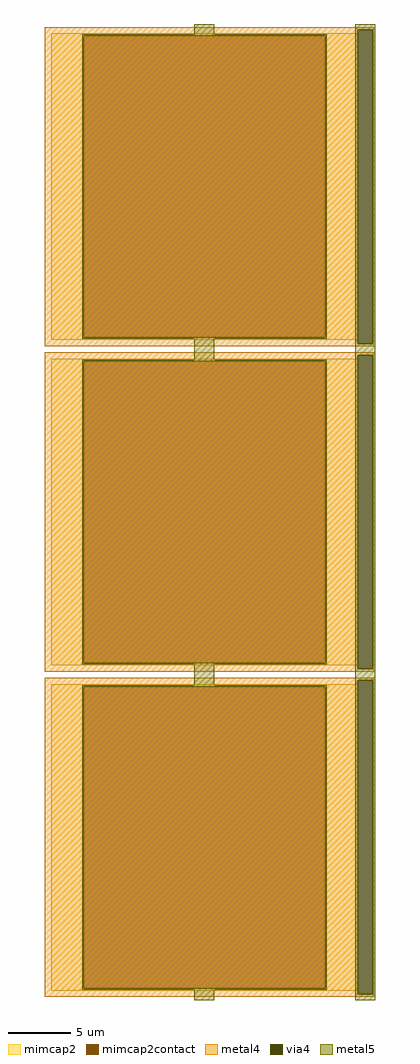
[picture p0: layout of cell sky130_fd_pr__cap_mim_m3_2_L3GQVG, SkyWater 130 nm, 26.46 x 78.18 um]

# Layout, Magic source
magic
tech sky130A
magscale 1 2
<< metal4 >>
rect -2635 7727 2635 7768
rect -2635 2697 2379 7727
rect 2615 2697 2635 7727
rect -2635 2656 2635 2697
rect -2635 2515 2635 2556
rect -2635 -2515 2379 2515
rect 2615 -2515 2635 2515
rect -2635 -2556 2635 -2515
rect -2635 -2697 2635 -2656
rect -2635 -7727 2379 -2697
rect 2615 -7727 2635 -2697
rect -2635 -7768 2635 -7727
<< via4 >>
rect 2379 2697 2615 7727
rect 2379 -2515 2615 2515
rect 2379 -7727 2615 -2697
<< mimcap2 >>
rect -2535 7628 2377 7668
rect -2535 2796 -2012 7628
rect 1854 2796 2377 7628
rect -2535 2756 2377 2796
rect -2535 2416 2377 2456
rect -2535 -2416 -2012 2416
rect 1854 -2416 2377 2416
rect -2535 -2456 2377 -2416
rect -2535 -2796 2377 -2756
rect -2535 -7628 -2012 -2796
rect 1854 -7628 2377 -2796
rect -2535 -7668 2377 -7628
<< mimcap2contact >>
rect -2012 2796 1854 7628
rect -2012 -2416 1854 2416
rect -2012 -7628 1854 -2796
<< metal5 >>
rect -239 7652 81 7818
rect 2337 7727 2657 7818
rect -2036 7628 1878 7652
rect -2036 2796 -2012 7628
rect 1854 2796 1878 7628
rect -2036 2772 1878 2796
rect -239 2440 81 2772
rect 2337 2697 2379 7727
rect 2615 2697 2657 7727
rect 2337 2515 2657 2697
rect -2036 2416 1878 2440
rect -2036 -2416 -2012 2416
rect 1854 -2416 1878 2416
rect -2036 -2440 1878 -2416
rect -239 -2772 81 -2440
rect 2337 -2515 2379 2515
rect 2615 -2515 2657 2515
rect 2337 -2697 2657 -2515
rect -2036 -2796 1878 -2772
rect -2036 -7628 -2012 -2796
rect 1854 -7628 1878 -2796
rect -2036 -7652 1878 -7628
rect -239 -7818 81 -7652
rect 2337 -7727 2379 -2697
rect 2615 -7727 2657 -2697
rect 2337 -7818 2657 -7727
<< properties >>
string FIXED_BBOX -2635 2656 2477 7768
string gencell sky130_fd_pr__cap_mim_m3_2
string library sky130
string parameters w 24.559 l 24.559 val 1.224k carea 2.00 cperi 0.19 nx 1 ny 3 dummy 0 square 0 lmin 2.00 wmin 2.00 lmax 30.0 wmax 30.0 dc 0 bconnect 1 tconnect 1 ccov 80
<< end >>
